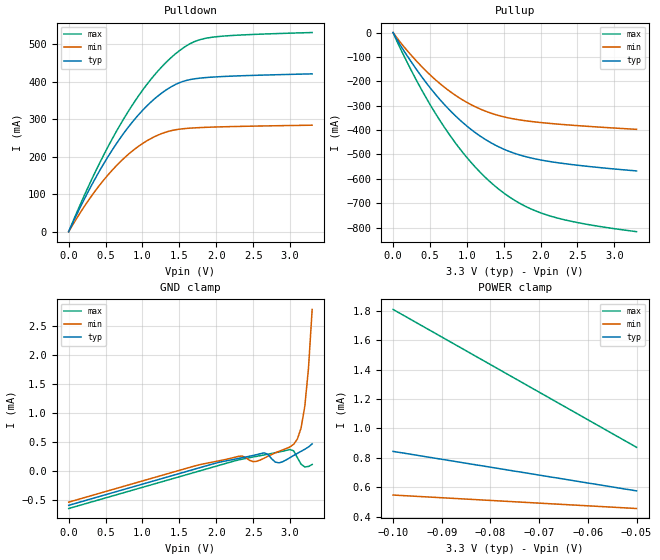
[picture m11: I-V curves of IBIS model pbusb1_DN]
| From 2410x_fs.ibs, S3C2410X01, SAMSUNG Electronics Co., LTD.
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[Model] pbusb1_DN
 Model_type  I/O
 Polarity   Non-Inverting
 Enable   Active-High
 Vinh= 2.00
 Vinl= 0.80
|variable   typ   min   max
 C_comp   2pF   2pF   2pF
|variable   typ   min   max
[Temperature Range]   25.0   0   70
|variable   typ   min   max
[Voltage Range]   3.3V   3.0V   3.6V
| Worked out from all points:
|   slope of the pulldown table from 0 to 0.495 V, typ, clamps not added: 2.63 ohm
|   slope of the pullup table from 0 to 0.495 V, typ, clamps not added: 2.21 ohm
[POWER_clamp]
|  voltage   I(typ)   I(min)   I(max)
-100mV    843.6uA    546.7uA    1.809mA
-50mV     575uA      455uA      871.4uA
[GND_clamp]
|  voltage   I(typ)   I(min)   I(max)
0V        -599.9uA   -544.8uA   -655uA
2.05V     146.4uA    172.4uA    94.94uA
2.35V     222.1uA    251.4uA    197.6uA
2.55V     276.3uA    160.9uA    246.8uA
2.65V     305.7uA    215.1uA    271.3uA
2.85V     134uA      332.5uA    321.6uA
3.05V     261.7uA    455uA      340.3uA
3.1V      298.2uA    546.7uA    221.9uA
3.15V     333.5uA    737.2uA    109.8uA
3.2V      368.8uA    1.11mA     63.45uA
3.25V     407.7uA    1.767mA    71.27uA
3.3V      462.4uA    2.784mA    106uA
[Pullup]
|  voltage   I(typ)   I(min)   I(max)
0V        884.6pA    1.035nA    1.787nA
150mV     -76.54mA   -59.23mA   -97.12mA
350mV     -165.3mA   -127.6mA   -214.4mA
500mV     -225.7mA   -173.1mA   -294.6mA
700mV     -296.8mA   -225.4mA   -390.7mA
850mV     -343.1mA   -258.5mA   -454.9mA
1.05V     -395.8mA   -294.7mA   -530.2mA
1.4V      -464.2mA   -337.7mA   -634.6mA
1.75V     -505.4mA   -360mA     -706.1mA
2.1V      -528mA     -372.1mA   -750mA
2.6V      -547.8mA   -384.1mA   -785.4mA
3.3V      -567.8mA   -397.2mA   -816.9mA
[Pulldown]
|  voltage   I(typ)   I(min)   I(max)
0V        -798.4pA   -1.026nA   -1.681nA
200mV     82.22mA    63.78mA    91.55mA
400mV     156mA      119.2mA    175.4mA
600mV     220.9mA    166.3mA    251.2mA
750mV     263.7mA    196.1mA    302.5mA
950mV     312.7mA    228.3mA    363.4mA
1.1V      343.2mA    247mA      403.1mA
1.3V      375.5mA    264.5mA    447.9mA
1.45V     393mA      272mA      475.1mA
1.65V     406mA      276.3mA    502.1mA
1.9V      411.9mA    278.7mA    517.6mA
3.3V      421.2mA    284.1mA    531.4mA
[Ramp]
| variable   typ   min   max
dV/dt_r  	1.8308/2.196E-09		1.323/2.807E-09		2.1916/1.7429E-09
dV/dt_f  	1.8308/1.517E-09		1.4566/2.117E-09	2.458/1.418E-09
R_load = 50ohms
